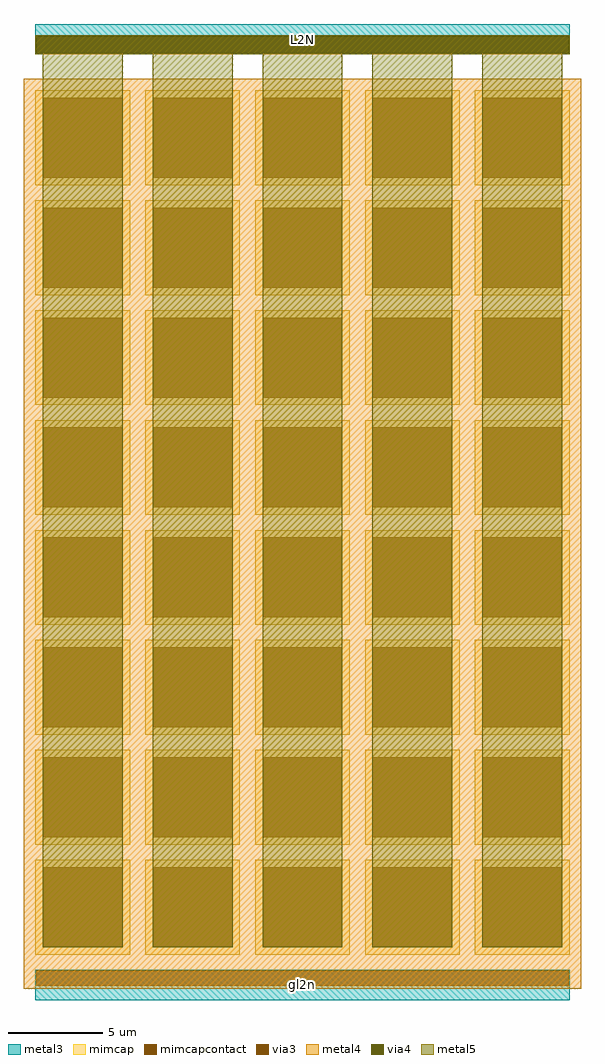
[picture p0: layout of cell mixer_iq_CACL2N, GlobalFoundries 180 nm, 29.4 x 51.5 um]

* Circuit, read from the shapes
.subckt mixer_iq_CACL2N L2N gl2n
XC1 L2N gl2n cap_mim_2f0fF c_width=5u c_length=5u m=40
.ends

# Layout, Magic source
magic
tech gf180mcuD
magscale 1 10
<< metal3 >>
rect 0 -340 5640 -160
rect 0 9500 5640 9700
rect 0 9500 5640 9820
rect 0 9500 5640 9820
rect 0 -480 5640 -160
rect 0 -480 5640 -160
<< metal4 >>
rect -120 -360 5760 9240
rect 0 -340 5640 -160
rect 0 9500 5640 9700
rect 0 9500 5640 9700
<< mimcap >>
rect 0 0 1000 1000
rect 1160 0 2160 1000
rect 2320 0 3320 1000
rect 3480 0 4480 1000
rect 4640 0 5640 1000
rect 0 1160 1000 2160
rect 1160 1160 2160 2160
rect 2320 1160 3320 2160
rect 3480 1160 4480 2160
rect 4640 1160 5640 2160
rect 0 2320 1000 3320
rect 1160 2320 2160 3320
rect 2320 2320 3320 3320
rect 3480 2320 4480 3320
rect 4640 2320 5640 3320
rect 0 3480 1000 4480
rect 1160 3480 2160 4480
rect 2320 3480 3320 4480
rect 3480 3480 4480 4480
rect 4640 3480 5640 4480
rect 0 4640 1000 5640
rect 1160 4640 2160 5640
rect 2320 4640 3320 5640
rect 3480 4640 4480 5640
rect 4640 4640 5640 5640
rect 0 5800 1000 6800
rect 1160 5800 2160 6800
rect 2320 5800 3320 6800
rect 3480 5800 4480 6800
rect 4640 5800 5640 6800
rect 0 6960 1000 7960
rect 1160 6960 2160 7960
rect 2320 6960 3320 7960
rect 3480 6960 4480 7960
rect 4640 6960 5640 7960
rect 0 8120 1000 9120
rect 1160 8120 2160 9120
rect 2320 8120 3320 9120
rect 3480 8120 4480 9120
rect 4640 8120 5640 9120
<< metal5 >>
rect 78 78 922 9600
rect 1238 78 2082 9600
rect 2398 78 3242 9600
rect 3558 78 4402 9600
rect 4718 78 5562 9600
rect 0 9500 5640 9700
rect 0 9500 5640 9700
<< via3 >>
rect 10 -330 5630 -170
rect 10 9510 5630 9690
<< via4 >>
rect 10 9510 5630 9690
<< mimcapcontact >>
rect 78 78 922 922
rect 1238 78 2082 922
rect 2398 78 3242 922
rect 3558 78 4402 922
rect 4718 78 5562 922
rect 78 1238 922 2082
rect 1238 1238 2082 2082
rect 2398 1238 3242 2082
rect 3558 1238 4402 2082
rect 4718 1238 5562 2082
rect 78 2398 922 3242
rect 1238 2398 2082 3242
rect 2398 2398 3242 3242
rect 3558 2398 4402 3242
rect 4718 2398 5562 3242
rect 78 3558 922 4402
rect 1238 3558 2082 4402
rect 2398 3558 3242 4402
rect 3558 3558 4402 4402
rect 4718 3558 5562 4402
rect 78 4718 922 5562
rect 1238 4718 2082 5562
rect 2398 4718 3242 5562
rect 3558 4718 4402 5562
rect 4718 4718 5562 5562
rect 78 5878 922 6722
rect 1238 5878 2082 6722
rect 2398 5878 3242 6722
rect 3558 5878 4402 6722
rect 4718 5878 5562 6722
rect 78 7038 922 7882
rect 1238 7038 2082 7882
rect 2398 7038 3242 7882
rect 3558 7038 4402 7882
rect 4718 7038 5562 7882
rect 78 8198 922 9042
rect 1238 8198 2082 9042
rect 2398 8198 3242 9042
rect 3558 8198 4402 9042
rect 4718 8198 5562 9042
<< labels >>
flabel metal3 s 0 9500 5640 9820 0 FreeSans 80 0 0 0 L2N
port 1 nsew signal bidirectional
flabel metal3 s 0 -480 5640 -160 0 FreeSans 80 0 0 0 gl2n
port 2 nsew signal bidirectional
<< end >>
